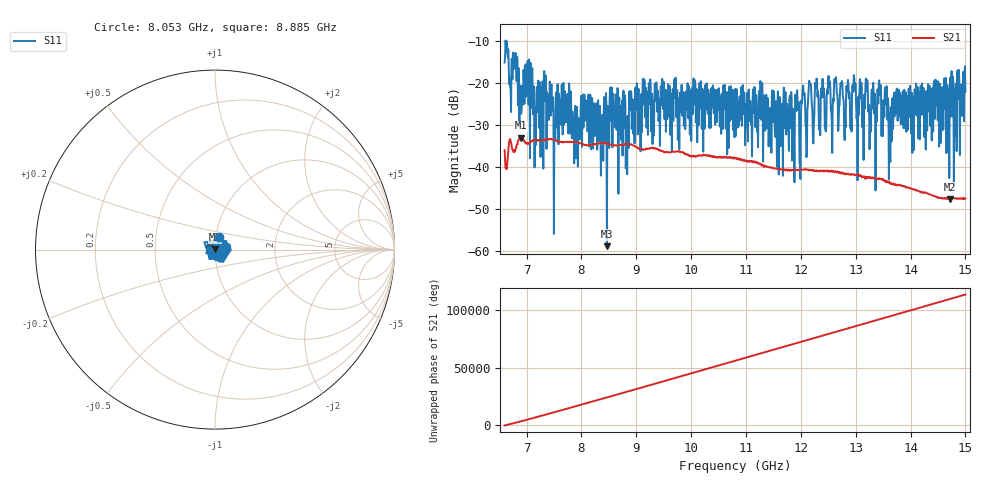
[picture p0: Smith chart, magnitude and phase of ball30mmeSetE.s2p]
!Keysight Technologies,N5235B,MY61252044,A.15.00.15
!Date: Friday, January 20, 2023 18:24:42
!Correction: S11(Off)
!S21(Off)
!S12(Off)
!S22(Off)
!S2P File: Measurements: S11, S21, S12, S22:
# Hz S  RI  R 50
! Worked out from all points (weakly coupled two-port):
!   1001 points, 6.6 GHz to 15 GHz, reference 50 ohm
!   highest |S21| = -33.05 dB at 6.902 GHz (marker M1); lowest = -47.7 dB at 14.71 GHz (marker M2)
!   lowest |S11| = -59.0 dB at 8.465 GHz (marker M3), VSWR 1.00, Z = 50 + j0.108 ohm
!   |S11| at or under -10 dB: start of sweep to 6.616548 GHz; 6.617 GHz to end of sweep
!   S12 and S22 are empty: the file has one direction only
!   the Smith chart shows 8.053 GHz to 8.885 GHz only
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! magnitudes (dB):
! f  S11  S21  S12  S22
! 6.6 GHz  -15.1  -36.0  -  -
! 6.701 GHz  -21.1  -33.4  -  -
! 6.793 GHz  -16.6  -36.2  -  -
! 6.902 GHz  -27.3  -33.0  -  -
! 7.012 GHz  -22.5  -34.5  -  -
! 7.163 GHz  -26.2  -33.7  -  -
! 8.003 GHz  -26.7  -34.5  -  -
! 8.465 GHz  -59.0  -34.5  -  -
! 8.557 GHz  -21.7  -34.8  -  -
! 8.818 GHz  -28.1  -34.6  -  -
! 9.137 GHz  -25.1  -35.9  -  -
! 9.406 GHz  -29.1  -35.8  -  -
! 10.8 GHz  -21.5  -38.1  -  -
! 11.3 GHz  -20.1  -39.7  -  -
! 11.63 GHz  -35.1  -40.6  -  -
! 12.2 GHz  -25.2  -40.7  -  -
! 12.98 GHz  -19.1  -41.8  -  -
! 13.05 GHz  -23.3  -41.8  -  -
! 13.55 GHz  -25.1  -43.5  -  -
! 13.61 GHz  -43.1  -43.6  -  -
! 14.71 GHz  -21.0  -47.7  -  -
! 15 GHz  -22.1  -47.6  -  -
